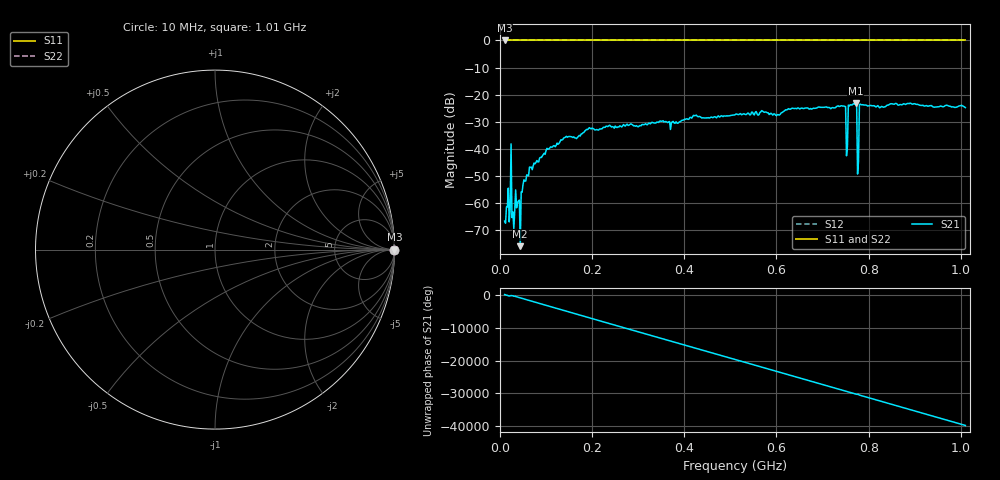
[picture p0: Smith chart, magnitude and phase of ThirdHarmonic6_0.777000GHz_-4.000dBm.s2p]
! 8/16/2025 1:56:14 AM
! C:\ANRITSUVNA\TEMP\TEMP.S2P
! CHANNEL.1
! TR.MEASUREMENT
! RAW.DATA
! RF.CORRECTION.OFF
! AVERAGING.OFF
! IF.BANDWIDTH: 5KHZ
! SWEEPTYPE:  FREQ.SWEEP(Linear)
! Reference Plane Port Info
! PORT:  PORT1  PORT2
! DISTANCE:  0  m  0  m
! TIME:  0  s  0  s
! PHASE.OFFSET:  0  deg.  0  deg.
! LOSS:  0  dB  0  dB
! REF.LOSS:  0  dB  0  dB
! REF.FREQ:  0  Hz  0  Hz
! Power Info
! POWER:  -20  dBm  -20  dBm
! EFF.POWER:  -20  dBm  -20  dBm
! SOURCE.ATTEN:  0  dB  0  dB
! TEST.ATTEN:  0  dB  0  dB
# GHZ S RI R 50.0
! FREQ.GHZ  S11RE  S11IM  S21RE  S21IM  S12RE  S12IM  S22RE  S22IM
!; PortSelection: Port_12
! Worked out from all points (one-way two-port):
!   501 points, 10 MHz to 1.01 GHz, reference 50 ohm
!   highest |S21| = -23.03 dB at 772 MHz (marker M1); lowest = -75.8 dB at 44 MHz (marker M2)
!   lowest |S11| = 0.0 dB at 10 MHz (marker M3)
!   |S11| at or under -10 dB: nowhere
!   |S22| runs from 0.0 to 0.0 dB; largest |S21 - S12| = 1.1
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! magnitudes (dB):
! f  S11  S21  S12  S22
! 10 MHz  0.0  -66.5  0.0  0.0
! 20 MHz  0.0  -66.8  0.0  0.0
! 30 MHz  0.0  -69.3  0.0  0.0
! 38 MHz  0.0  -59.7  0.0  0.0
! 44 MHz  0.0  -75.8  0.0  0.0
! 50 MHz  0.0  -53.0  0.0  0.0
! 68 MHz  0.0  -46.7  0.0  0.0
! 178 MHz  0.0  -34.4  0.0  0.0
! 344 MHz  0.0  -30.2  0.0  0.0
! 510 MHz  0.0  -27.4  0.0  0.0
! 678 MHz  0.0  -25.2  0.0  0.0
! 746 MHz  0.0  -24.1  0.0  0.0
! 750 MHz  0.0  -24.4  0.0  0.0
! 756 MHz  0.0  -23.8  0.0  0.0
! 760 MHz  0.0  -23.7  0.0  0.0
! 770 MHz  0.0  -23.5  0.0  0.0
! 772 MHz  0.0  -23.0  0.0  0.0
! 774 MHz  0.0  -23.4  0.0  0.0
! 780 MHz  0.0  -23.6  0.0  0.0
! 784 MHz  0.0  -23.7  0.0  0.0
! 844 MHz  0.0  -23.6  0.0  0.0
! 1.01 GHz  0.0  -24.7  0.0  0.0
